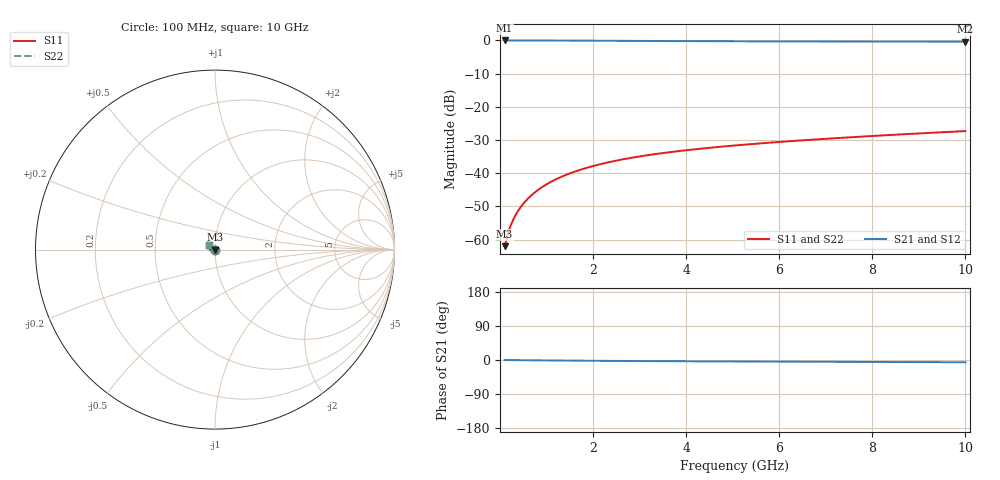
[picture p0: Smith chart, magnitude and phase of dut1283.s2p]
! Touchstone file exported from HFSS 2024.1.0
!  File:  C:/UserFiles/LocalFiles/RDL_TSV_Batchsim/temp_TSV1_1283_1780255430.aedt
!  Generated:  03:30:18 AM Jun  1, 2026
!  Design:  TSV1
!  Project:  temp_TSV1_1283_1780255430
!  Setup:  Setup1
!  Solution:  Sweep
! Variables:
!  dtsv = 6.08um
!  hbump = 3um
!  htsv = 89.99um
!  lrdl = 252.1521522um
!  p = 40
!  p1 = 50.77um
!  t = 500um
!  trdl = 3um
!  wrdl = 24.89489489um
# GHz S MA R 50.000000
! Terminal data exported
! Port[1] = TSV22_T1
! Port[2] = TSV22_T2
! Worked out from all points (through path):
!   100 points, 100 MHz to 10 GHz, reference 50 ohm
!   highest |S21| = 0.00 dB at 100 MHz (marker M1); lowest = -0.4 dB at 10 GHz (marker M2)
!   lowest |S11| = -62.0 dB at 100 MHz (marker M3), VSWR 1.00, Z = 50 - j0.0699 ohm
!   |S11| at or under -10 dB: start of sweep to end of sweep
!   |S22| runs from -62.0 to -27.3 dB; largest |S21 - S12| = 4.2e-15
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0.1  0.0007987 -61.0  0.9996 -0.1  0.9996 -0.1  0.0007987 -61.0
! Gamma 0 0 0 0
! Port Impedance 50 0 50 0
0.2  0.001444 -77.6  0.9995 -0.2  0.9995 -0.2  0.001444 -77.6
0.3  0.002118 -85.2  0.9993 -0.3  0.9993 -0.3  0.002118 -85.2
0.4  0.002798 -90.2  0.9991 -0.5  0.9991 -0.5  0.002798 -90.2
0.5  0.003478 -94.1  0.9989 -0.6  0.9989 -0.6  0.003478 -94.1
0.6  0.004155 -97.4  0.9986 -0.7  0.9986 -0.7  0.004155 -97.4
0.7  0.004828 -100.4  0.9982 -0.8  0.9982 -0.8  0.004828 -100.4
0.8  0.005495 -103.2  0.9979 -0.9  0.9979 -0.9  0.005495 -103.2
0.9  0.006156 -105.8  0.9974 -1.0  0.9974 -1.0  0.006156 -105.8
1.1  0.007455 -110.7  0.9965 -1.2  0.9965 -1.2  0.007455 -110.7
1.4  0.009339 -117.6  0.9948 -1.5  0.9948 -1.5  0.009339 -117.6
1.6  0.01055 -121.9  0.9935 -1.7  0.9935 -1.7  0.01055 -121.9
1.8  0.01172 -126.0  0.9921 -1.9  0.9921 -1.9  0.01172 -126.0
2.1  0.0134 -131.9  0.99 -2.1  0.99 -2.1  0.0134 -131.9
2.5  0.01549 -139.3  0.9872 -2.4  0.9872 -2.4  0.01549 -139.3
2.9  0.01745 -146.2  0.9843 -2.7  0.9843 -2.7  0.01745 -146.2
3.4  0.01971 -154.1  0.9809 -3.0  0.9809 -3.0  0.01971 -154.1
4.2  0.02301 -165.3  0.9761 -3.5  0.9761 -3.5  0.02301 -165.3
5.1  0.0264 -176.2  0.9716 -3.9  0.9716 -3.9  0.0264 -176.2
6.7  0.032 168.3  0.9656 -4.6  0.9656 -4.6  0.032 168.3
8.4  0.03775 155.6  0.9613 -5.3  0.9613 -5.3  0.03775 155.6
10  0.04316 146.2  0.9584 -6.0  0.9584 -6.0  0.04316 146.2
